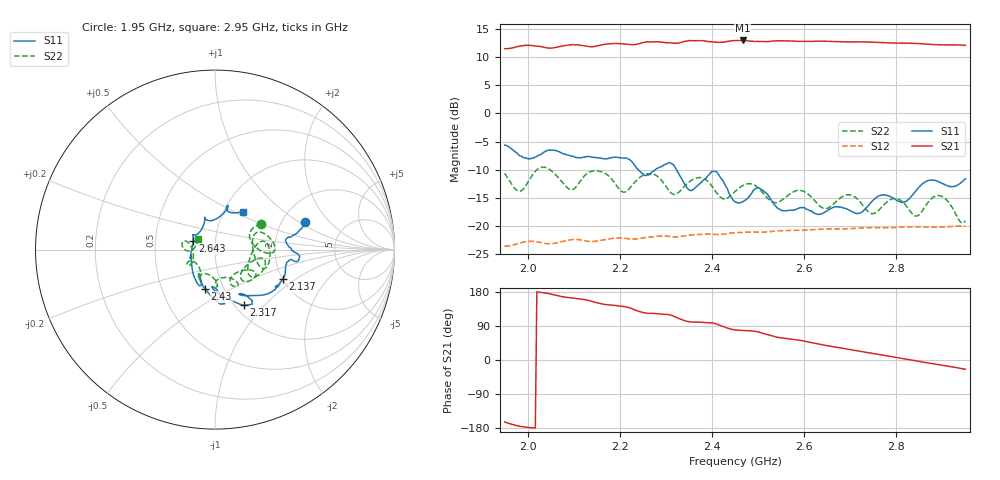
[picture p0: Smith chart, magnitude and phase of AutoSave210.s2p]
!Agilent N9923A: A.07.32
!Date: Thursday, 02 June 2016 01:29:22
!Model: N9923A
!Serial: MY52412257
!GPS Latitude:
!GPS Longitude:
!GPS TimeStamp: 0001-01-01 00:00:00Z
!GPS Seconds Since Last Read: 0
!CHECKSUM:1670310775
!Correction: S11(ON U)S21(ON U)S12(ON U)S22(ON U)
!S2P File: Measurements:S11,S21,S12,S22:
# Hz S DB R 50
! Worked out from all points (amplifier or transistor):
!   301 points, 1.95 GHz to 2.95 GHz, reference 50 ohm
!   highest |S21| = 12.9 dB at 2.467 GHz (marker M1)
!   |S21| within 3 dB of that: start of sweep to end of sweep
!   unconditionally stable (mu >= 1): start of sweep to end of sweep
!   at 2.117 GHz: K = 1.36, MAG = 13.7 dB, |S12| = -22.5 dB
!   at 2.45 GHz: K = 1.37, MAG = 13.4 dB, |S12| = -21.2 dB
!   at 2.95 GHz: K = 1.35, MAG = 12.5 dB, |S12| = -20.0 dB
!   S11 on the Smith chart (normalised r, x): 1.95 GHz: 2.65, +1.13; 2.137 GHz: 2.01, -0.79; 2.317 GHz: 1.10, -0.78; 2.43 GHz: 0.82, -0.38; 2.643 GHz: 0.78, +0.08; 2.95 GHz: 1.23, +0.56
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1.95e9  -5.62 17.3  11.49 -163.6  -23.54 156.3  -10.63 28.9
1.996667e9  -7.90 8.7  12.11 -177.1  -22.77 148.5  -12.73 2.5
2.12e9  -7.79 -15.3  12.04 160.1  -22.54 123.9  -11.39 -20.9
2.136667e9  -7.70 -23.5  11.84 155.7  -22.73 122.3  -10.32 -18.1
2.166667e9  -8.06 -31.6  12.26 146.8  -22.40 119.6  -10.57 5.0
2.206667e9  -7.92 -31.8  12.34 141.5  -22.12 109.3  -13.95 -12.8
2.256667e9  -11.05 -61.7  12.69 123.6  -22.00 102.4  -10.78 -25.1
2.286667e9  -9.53 -54.6  12.69 121.5  -21.77 96.5  -11.53 -10.2
2.316667e9  -9.13 -62.4  12.47 115.7  -21.93 89.7  -14.37 -33.3
2.35e9  -13.56 -94.8  12.93 100.8  -21.61 84.8  -12.18 -46.6
2.403333e9  -10.30 -81.6  12.65 97.6  -21.46 74.5  -13.29 -31.6
2.43e9  -12.94 -104.2  12.73 85.7  -21.37 70.3  -15.15 -55.0
2.453333e9  -15.80 -124.1  12.93 79.0  -21.15 65.4  -13.61 -65.7
2.466667e9  -15.69 -122.1  12.95 77.8  -21.10 62.9  -12.80 -62.9
2.493333e9  -13.44 -111.6  12.75 75.9  -21.05 57.9  -12.78 -56.2
2.543333e9  -16.89 -156.1  12.90 59.8  -20.83 48.5  -15.74 -81.5
2.62e9  -17.62 -176.3  12.79 44.8  -20.62 34.5  -15.22 -88.8
2.643333e9  -17.60 157.5  12.81 39.2  -20.52 29.5  -16.87 -105.0
2.783333e9  -14.65 107.9  12.53 10.2  -20.27 2.0  -15.49 -155.2
2.846667e9  -13.34 75.6  12.41 -3.1  -20.12 -10.4  -18.16 -176.4
2.893333e9  -12.17 74.7  12.18 -12.6  -20.18 -19.3  -14.59 170.5
2.95e9  -11.59 53.5  12.09 -24.4  -19.99 -30.6  -19.05 147.3
